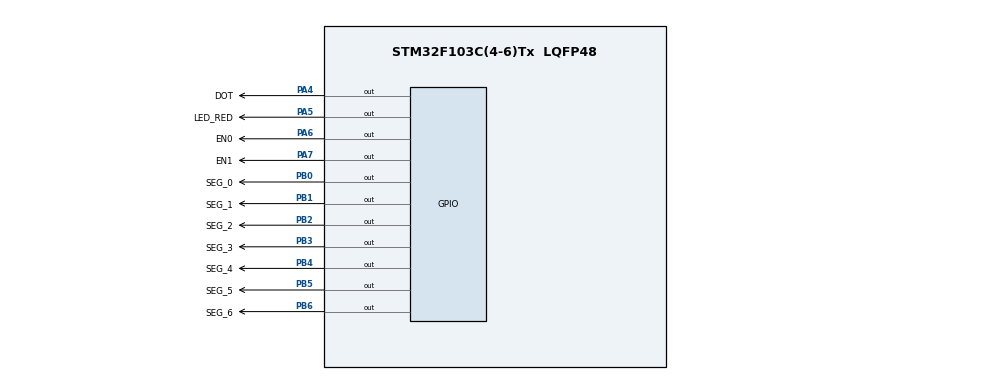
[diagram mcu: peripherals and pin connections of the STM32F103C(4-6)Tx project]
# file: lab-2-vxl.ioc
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Mcu.Family=STM32F1
Mcu.Name=STM32F103C(4-6)Tx
Mcu.Package=LQFP48
NVIC.PriorityGroup=NVIC_PRIORITYGROUP_4
NVIC.TIM2_IRQn=true\:0\:0\:false\:false\:true\:true\:true\:true
PA4.GPIO_Label=DOT
PA4.Signal=GPIO_Output
PA5.GPIO_Label=LED_RED
PA5.Signal=GPIO_Output
PA6.GPIO_Label=EN0
PA6.Signal=GPIO_Output
PA7.GPIO_Label=EN1
PA7.Signal=GPIO_Output
PB0.GPIO_Label=SEG_0
PB0.Signal=GPIO_Output
PB1.GPIO_Label=SEG_1
PB1.Signal=GPIO_Output
PB2.GPIO_Label=SEG_2
PB2.Signal=GPIO_Output
PB3.GPIO_Label=SEG_3
PB3.Signal=GPIO_Output
PB4.GPIO_Label=SEG_4
PB4.Signal=GPIO_Output
PB5.GPIO_Label=SEG_5
PB5.Signal=GPIO_Output
PB6.GPIO_Label=SEG_6
PB6.Signal=GPIO_Output
ProjectManager.HeapSize=0x200
ProjectManager.StackSize=0x400
ProjectManager.TargetToolchain=STM32CubeIDE
RCC.APB1Freq_Value=8000000
RCC.APB2Freq_Value=8000000
TIM2.Period=499
TIM2.Prescaler=7999
VP_SYS_VS_ND.Mode=No_Debug
VP_TIM2_VS_ClockSourceINT.Mode=Internal
board=custom

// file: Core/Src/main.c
/* USER CODE BEGIN Header */
/**
  ******************************************************************************
  * @file           : main.c
  * @brief          : Main program body
  ******************************************************************************
  * @attention
  *
  * Copyright (c) 2024 STMicroelectronics.
  * All rights reserved.
  *
  * This software is licensed under terms that can be found in the LICENSE file
  * in the root directory of this software component.
  * If no LICENSE file comes with this software, it is provided AS-IS.
  *
  ******************************************************************************
  */
/* USER CODE END Header */
#include "main.h"

TIM_HandleTypeDef htim2;

/* USER CODE BEGIN PV */
uint8_t displayIndex = 0;
uint8_t ledState = 0;
/* USER CODE END PV */

void SystemClock_Config(void);
static void MX_GPIO_Init(void);
static void MX_TIM2_Init(void);

int main(void)
{

  /* MCU Configuration--------------------------------------------------------*/

  /* Reset of all peripherals, Initializes the Flash interface and the Systick. */
  HAL_Init();

  /* Configure the system clock */
  SystemClock_Config();

  /* Initialize all configured peripherals */
  MX_GPIO_Init();
  MX_TIM2_Init();
  /* USER CODE BEGIN 2 */
  HAL_TIM_Base_Start_IT(&htim2);
  /* USER CODE END 2 */

  /* Infinite loop */
  while (1)
  {

  }
}

void SystemClock_Config(void)
{
  RCC_OscInitTypeDef RCC_OscInitStruct = {0};
  RCC_ClkInitTypeDef RCC_ClkInitStruct = {0};

  /** Initializes the RCC Oscillators according to the specified parameters
  * in the RCC_OscInitTypeDef structure.
  */
  RCC_OscInitStruct.OscillatorType = RCC_OSCILLATORTYPE_HSI;
  RCC_OscInitStruct.HSIState = RCC_HSI_ON;
  RCC_OscInitStruct.HSICalibrationValue = RCC_HSICALIBRATION_DEFAULT;
  RCC_OscInitStruct.PLL.PLLState = RCC_PLL_NONE;
  if (HAL_RCC_OscConfig(&RCC_OscInitStruct) != HAL_OK)
  {
    Error_Handler();
  }

  /** Initializes the CPU, AHB and APB buses clocks
  */
  RCC_ClkInitStruct.ClockType = RCC_CLOCKTYPE_HCLK|RCC_CLOCKTYPE_SYSCLK
                              |RCC_CLOCKTYPE_PCLK1|RCC_CLOCKTYPE_PCLK2;
  RCC_ClkInitStruct.SYSCLKSource = RCC_SYSCLKSOURCE_HSI;
  RCC_ClkInitStruct.AHBCLKDivider = RCC_SYSCLK_DIV1;
  RCC_ClkInitStruct.APB1CLKDivider = RCC_HCLK_DIV1;
  RCC_ClkInitStruct.APB2CLKDivider = RCC_HCLK_DIV1;

  if (HAL_RCC_ClockConfig(&RCC_ClkInitStruct, FLASH_LATENCY_0) != HAL_OK)
  {
    Error_Handler();
  }
}

static void MX_TIM2_Init(void)
{

  TIM_ClockConfigTypeDef sClockSourceConfig = {0};
  TIM_MasterConfigTypeDef sMasterConfig = {0};

  htim2.Instance = TIM2;
  htim2.Init.Prescaler = 7999;
  htim2.Init.CounterMode = TIM_COUNTERMODE_UP;
  htim2.Init.Period = 499;
  htim2.Init.ClockDivision = TIM_CLOCKDIVISION_DIV1;
  htim2.Init.AutoReloadPreload = TIM_AUTORELOAD_PRELOAD_DISABLE;
  if (HAL_TIM_Base_Init(&htim2) != HAL_OK)
  {
    Error_Handler();
  }
  sClockSourceConfig.ClockSource = TIM_CLOCKSOURCE_INTERNAL;
  if (HAL_TIM_ConfigClockSource(&htim2, &sClockSourceConfig) != HAL_OK)
  {
    Error_Handler();
  }
  sMasterConfig.MasterOutputTrigger = TIM_TRGO_RESET;
  sMasterConfig.MasterSlaveMode = TIM_MASTERSLAVEMODE_DISABLE;
  if (HAL_TIMEx_MasterConfigSynchronization(&htim2, &sMasterConfig) != HAL_OK)
  {
    Error_Handler();
  }

}

static void MX_GPIO_Init(void)
{
  GPIO_InitTypeDef GPIO_InitStruct = {0};

  /* GPIO Ports Clock Enable */
  __HAL_RCC_GPIOA_CLK_ENABLE();
  __HAL_RCC_GPIOB_CLK_ENABLE();

  /*Configure GPIO pin Output Level */
  HAL_GPIO_WritePin(GPIOA, DOT_Pin|LED_RED_Pin|EN0_Pin|EN1_Pin, GPIO_PIN_RESET);

  /*Configure GPIO pin Output Level */
  HAL_GPIO_WritePin(GPIOB, SEG_0_Pin|SEG_1_Pin|SEG_2_Pin|SEG_3_Pin
                          |SEG_4_Pin|SEG_5_Pin|SEG_6_Pin, GPIO_PIN_RESET);

  /*Configure GPIO pins : DOT_Pin LED_RED_Pin EN0_Pin EN1_Pin */
  GPIO_InitStruct.Pin = DOT_Pin|LED_RED_Pin|EN0_Pin|EN1_Pin;
  GPIO_InitStruct.Mode = GPIO_MODE_OUTPUT_PP;
  GPIO_InitStruct.Pull = GPIO_NOPULL;
  GPIO_InitStruct.Speed = GPIO_SPEED_FREQ_LOW;
  HAL_GPIO_Init(GPIOA, &GPIO_InitStruct);

  /*Configure GPIO pins : SEG_0_Pin SEG_1_Pin SEG_2_Pin SEG_3_Pin
                           SEG_4_Pin SEG_5_Pin SEG_6_Pin */
  GPIO_InitStruct.Pin = SEG_0_Pin|SEG_1_Pin|SEG_2_Pin|SEG_3_Pin
                          |SEG_4_Pin|SEG_5_Pin|SEG_6_Pin;
  GPIO_InitStruct.Mode = GPIO_MODE_OUTPUT_PP;
  GPIO_InitStruct.Pull = GPIO_NOPULL;
  GPIO_InitStruct.Speed = GPIO_SPEED_FREQ_LOW;
  HAL_GPIO_Init(GPIOB, &GPIO_InitStruct);

}

/* USER CODE BEGIN 4 */
void displayNumber(uint8_t num, uint8_t display)
{
  // Turn off all segments
  HAL_GPIO_WritePin(GPIOB, SEG_0_Pin|SEG_1_Pin|SEG_2_Pin|SEG_3_Pin|
                           SEG_4_Pin|SEG_5_Pin|SEG_6_Pin, GPIO_PIN_RESET);

  // Enable selected display
  HAL_GPIO_WritePin(GPIOA, EN0_Pin, (display == 1) ? GPIO_PIN_SET : GPIO_PIN_RESET);
  HAL_GPIO_WritePin(GPIOA, EN1_Pin, (display == 2) ? GPIO_PIN_SET : GPIO_PIN_RESET);

  // Set segments based on the number (assuming common cathode configuration)
  switch (num)
  {
    case 0: HAL_GPIO_WritePin(GPIOB, SEG_0_Pin|SEG_1_Pin|SEG_2_Pin|SEG_3_Pin|SEG_4_Pin|SEG_5_Pin, GPIO_PIN_SET); break;
    case 3: HAL_GPIO_WritePin(GPIOB, SEG_0_Pin|SEG_1_Pin|SEG_2_Pin|SEG_3_Pin|SEG_6_Pin, GPIO_PIN_SET); break;
    // Add other numbers if needed
  }
}

void toggleLEDs(void)
{
  ledState = !ledState;
  HAL_GPIO_WritePin(GPIOA, LED_RED_Pin, ledState ? GPIO_PIN_SET : GPIO_PIN_RESET);
}

void HAL_TIM_PeriodElapsedCallback(TIM_HandleTypeDef *htim)
{
  static uint16_t counter = 0;

  if (htim->Instance == TIM2)
  {
    // Alternate between display 3 and display 0 every 500ms
    if (counter % 2 == 0)
    {
      displayNumber(3, 1); // Display 3 on the first display
    }
    else
    {
      displayNumber(0, 2); // Display 0 on the second display
    }

    // Toggle LEDs every second
    if (counter >= 2)
    {
      toggleLEDs();
      counter = 0;
    }
    counter++;
  }
}
/* USER CODE END 4 */

void Error_Handler(void)
{
  __disable_irq();
  while (1)
  {
  }
}
